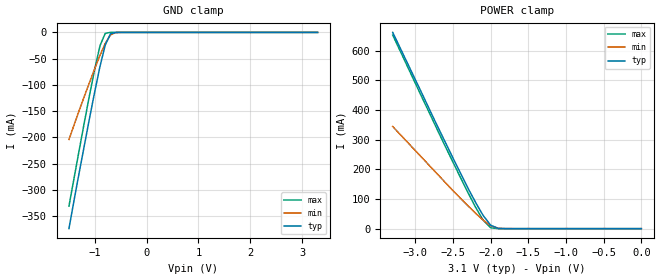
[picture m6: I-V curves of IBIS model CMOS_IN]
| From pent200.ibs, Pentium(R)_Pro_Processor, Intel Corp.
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[Model]   CMOS_IN
Model_type  Input
Vinl = 0.8
Vinh = 2.0
|Variable   typ   min   max
C_comp   2.6p   2.3p   2.8p
|Variable   typ   min   max
[Voltage range] 3.1   2.845  3.255
|Variable   typ   min   max
[Temperature Range] 80   100   0
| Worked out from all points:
|   GND clamp passes 1 mA (typ) near -0.63 V on its own axis
|   POWER clamp passes 1 mA (typ) near -1.90 V on its own axis
[GND_clamp]
|Volts   typ   min   max
-1.5V     -374mA     -204mA     -331mA
-1.3V     -266mA     -148mA     -223mA
-1.1V     -162mA     -94.6mA    -118mA
-1V       -112mA     -68.5mA    -68.7mA
-900mV    -64.5mA    -43.6mA    -25.1mA
-800mV    -24.3mA    -21.1mA    -1.87mA
-700mV    -2.93mA    -4.97mA    -28.1uA
-600mV    -120uA     -332uA     0A
-500mV    -4.5uA     -13.2uA    0A
3.3V      0A         0A         0A
[POWER_clamp]
|Volts   typ   min   max
-3.3V     661mA      344mA      652mA
-2.7V     342mA      182mA      329mA
-2.3V     136mA      76.6mA     121mA
-2.2V     88.4mA     51.9mA     72.2mA
-2.1V     44.5mA     28.9mA     28.8mA
-2V       11.7mA     10.2mA     2.99mA
-1.9V     835uA      1.22mA     53.6uA
-1.8V     32.8uA     62.1uA     0A
0V        0A         0A         0A
